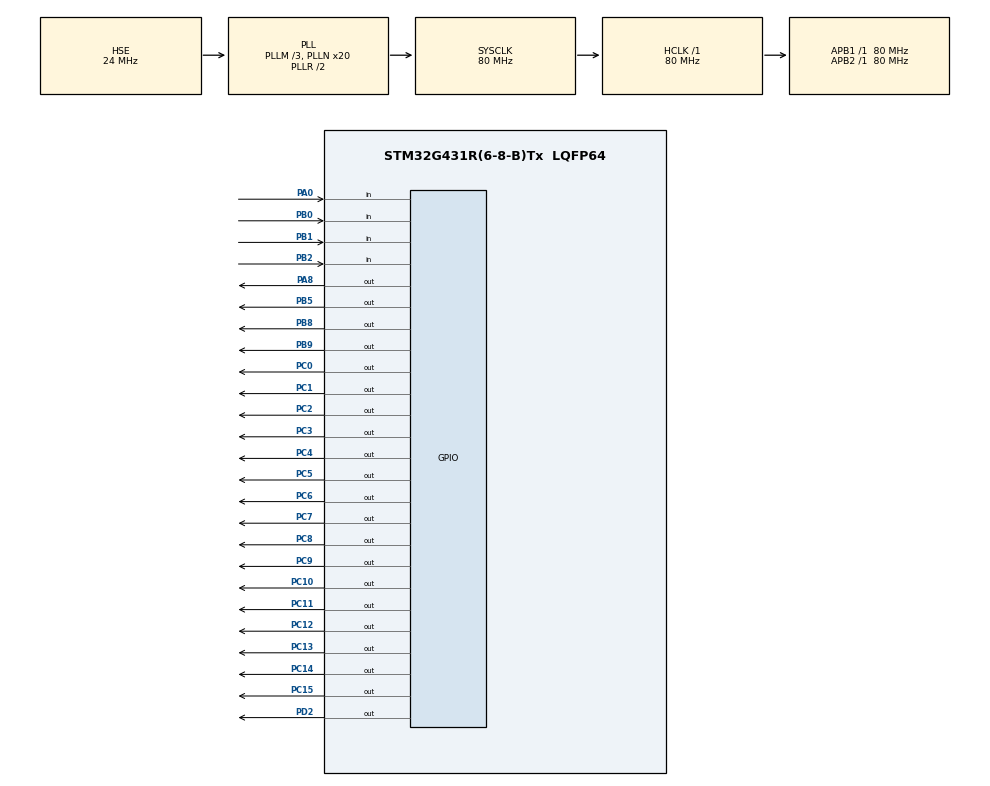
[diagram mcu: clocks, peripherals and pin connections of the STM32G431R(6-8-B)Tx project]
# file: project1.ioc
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Mcu.Family=STM32G4
Mcu.Name=STM32G431R(6-8-B)Tx
Mcu.Package=LQFP64
NVIC.PriorityGroup=NVIC_PRIORITYGROUP_4
NVIC.TIM3_IRQn=true\:0\:0\:false\:false\:true\:true\:true\:true
PA0.GPIO_PuPd=GPIO_PULLUP
PA0.Signal=GPIO_Input
PA13.Mode=Serial_Wire
PA13.Signal=SYS_JTMS-SWDIO
PA14.Mode=Serial_Wire
PA14.Signal=SYS_JTCK-SWCLK
PA8.Signal=GPIO_Output
PB0.GPIO_PuPd=GPIO_PULLUP
PB0.Signal=GPIO_Input
PB1.GPIO_PuPd=GPIO_PULLUP
PB1.Signal=GPIO_Input
PB2.GPIO_PuPd=GPIO_PULLUP
PB2.Signal=GPIO_Input
PB5.Signal=GPIO_Output
PB8-BOOT0.Signal=GPIO_Output
PB9.Signal=GPIO_Output
PC0.Signal=GPIO_Output
PC1.Signal=GPIO_Output
PC10.PinState=GPIO_PIN_SET
PC10.Signal=GPIO_Output
PC11.PinState=GPIO_PIN_SET
PC11.Signal=GPIO_Output
PC12.PinState=GPIO_PIN_SET
PC12.Signal=GPIO_Output
PC13.PinState=GPIO_PIN_SET
PC13.Signal=GPIO_Output
PC14-OSC32_IN.PinState=GPIO_PIN_SET
PC14-OSC32_IN.Signal=GPIO_Output
PC15-OSC32_OUT.PinState=GPIO_PIN_SET
PC15-OSC32_OUT.Signal=GPIO_Output
PC2.Signal=GPIO_Output
PC3.Signal=GPIO_Output
PC4.Signal=GPIO_Output
PC5.Signal=GPIO_Output
PC6.Signal=GPIO_Output
PC7.Signal=GPIO_Output
PC8.PinState=GPIO_PIN_SET
PC8.Signal=GPIO_Output
PC9.PinState=GPIO_PIN_SET
PC9.Signal=GPIO_Output
PD2.Signal=GPIO_Output
PF0-OSC_IN.Mode=HSE-External-Oscillator
PF0-OSC_IN.Signal=RCC_OSC_IN
PF1-OSC_OUT.Mode=HSE-External-Oscillator
PF1-OSC_OUT.Signal=RCC_OSC_OUT
ProjectManager.HeapSize=0x200
ProjectManager.StackSize=0x400
ProjectManager.TargetToolchain=MDK-ARM V5.32
RCC.ADC12Freq_Value=80000000
RCC.AHBFreq_Value=80000000
RCC.APB1Freq_Value=80000000
RCC.APB1TimFreq_Value=80000000
RCC.APB2Freq_Value=80000000
RCC.APB2TimFreq_Value=80000000
RCC.CortexFreq_Value=80000000
RCC.EXTERNAL_CLOCK_VALUE=12288000
RCC.HCLKFreq_Value=80000000
RCC.HSE_VALUE=24000000
RCC.HSI48_VALUE=48000000
RCC.HSI_VALUE=16000000
RCC.LSE_VALUE=32768
RCC.PLLM=RCC_PLLM_DIV3
RCC.PLLN=20
RCC.PLLSourceVirtual=RCC_PLLSOURCE_HSE
RCC.SYSCLKFreq_VALUE=80000000
RCC.SYSCLKSource=RCC_SYSCLKSOURCE_PLLCLK
RCC.USBFreq_Value=80000000
RCC.VCOOutputFreq_Value=160000000
TIM3.PeriodNoDither=10000-1
TIM3.Prescaler=80-1
VP_SYS_VS_DBSignals.Mode=DisableDeadBatterySignals
VP_TIM3_VS_ClockSourceINT.Mode=Internal
board=custom

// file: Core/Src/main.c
/* USER CODE BEGIN Header */
/**
  ******************************************************************************
  * @file           : main.c
  * @brief          : Main program body
  ******************************************************************************
  * @attention
  *
  * Copyright (c) 2025 STMicroelectronics.
  * All rights reserved.
  *
  * This software is licensed under terms that can be found in the LICENSE file
  * in the root directory of this software component.
  * If no LICENSE file comes with this software, it is provided AS-IS.
  *
  ******************************************************************************
  */
/* USER CODE END Header */
#include "main.h"
#include "tim.h"
#include "gpio.h"

/* USER CODE BEGIN Includes */
#include "led.h"
#include "lcd.h"
#include "interrupt.h"
/* USER CODE END Includes */

/* USER CODE BEGIN PTD */
extern struct keys key[];
uchar view=0;
void key_proc();
void disp_proc();
void displayMultiLines(uint8_t starLine,const char** texts,uint8_t numLines);
/* USER CODE END PTD */

void SystemClock_Config(void);

int main(void)
{

  /* MCU Configuration--------------------------------------------------------*/

  /* Reset of all peripherals, Initializes the Flash interface and the Systick. */
  HAL_Init();

  /* Configure the system clock */
  SystemClock_Config();

  /* Initialize all configured peripherals */
  MX_GPIO_Init();
  MX_TIM3_Init();
  /* USER CODE BEGIN 2 */
	HAL_TIM_Base_Start_IT(&htim3);//开启中断
	LED_Disp(0x00);//LED初始化
	LCD_Init();//LCD初始化
	LCD_SetBackColor(Black);
	LCD_SetTextColor(White);
	LCD_Clear(Black);
	HAL_Delay(100);
	//LCD_DisplayStringLine(Line4, (unsigned char *)"    Hello,world.   ");
  /* USER CODE END 2 */

  /* Infinite loop */
  while (1)
  {

    /* USER CODE BEGIN 3 */
		LED_Disp(0x01);
		HAL_Delay(500);
		LED_Disp(0x00);
		HAL_Delay(500);

		key_proc();
		disp_proc();

  }
  /* USER CODE END 3 */
}

void SystemClock_Config(void)
{
  RCC_OscInitTypeDef RCC_OscInitStruct = {0};
  RCC_ClkInitTypeDef RCC_ClkInitStruct = {0};

  /** Configure the main internal regulator output voltage
  */
  HAL_PWREx_ControlVoltageScaling(PWR_REGULATOR_VOLTAGE_SCALE1);

  /** Initializes the RCC Oscillators according to the specified parameters
  * in the RCC_OscInitTypeDef structure.
  */
  RCC_OscInitStruct.OscillatorType = RCC_OSCILLATORTYPE_HSE;
  RCC_OscInitStruct.HSEState = RCC_HSE_ON;
  RCC_OscInitStruct.PLL.PLLState = RCC_PLL_ON;
  RCC_OscInitStruct.PLL.PLLSource = RCC_PLLSOURCE_HSE;
  RCC_OscInitStruct.PLL.PLLM = RCC_PLLM_DIV3;
  RCC_OscInitStruct.PLL.PLLN = 20;
  RCC_OscInitStruct.PLL.PLLP = RCC_PLLP_DIV2;
  RCC_OscInitStruct.PLL.PLLQ = RCC_PLLQ_DIV2;
  RCC_OscInitStruct.PLL.PLLR = RCC_PLLR_DIV2;
  if (HAL_RCC_OscConfig(&RCC_OscInitStruct) != HAL_OK)
  {
    Error_Handler();
  }

  /** Initializes the CPU, AHB and APB buses clocks
  */
  RCC_ClkInitStruct.ClockType = RCC_CLOCKTYPE_HCLK|RCC_CLOCKTYPE_SYSCLK
                              |RCC_CLOCKTYPE_PCLK1|RCC_CLOCKTYPE_PCLK2;
  RCC_ClkInitStruct.SYSCLKSource = RCC_SYSCLKSOURCE_PLLCLK;
  RCC_ClkInitStruct.AHBCLKDivider = RCC_SYSCLK_DIV1;
  RCC_ClkInitStruct.APB1CLKDivider = RCC_HCLK_DIV1;
  RCC_ClkInitStruct.APB2CLKDivider = RCC_HCLK_DIV1;

  if (HAL_RCC_ClockConfig(&RCC_ClkInitStruct, FLASH_LATENCY_2) != HAL_OK)
  {
    Error_Handler();
  }
}

/* USER CODE BEGIN 4 */
void key_proc(void)
{
	if(key[0].single_flag==1)
		{
			view=!view;
			key[0].single_flag=0;//使用过清零
		}
}
/*
void displayMultiLines(uint8_t starLine,const char** texts,uint8_t numLines)
{
	for(uint8_t i=0;i<numLines;i++)
	{
		LCD_DisplayStringLine(starLine+i, (unsigned char *)texts[i]);
	}
}
*/
void disp_proc(void)
{
	LCD_Clear(Black); // 增加清屏操作
	if(view==0)
	{
		const char* displayTexts[]={
			"       Data",
			" ",
			"   CNBR:2",
			"   VNBR:4",
			"   IDLE:2"
		};
		uint8_t num=sizeof(displayTexts)/sizeof(char*);
		for(uint8_t i=0;i<num;i++)
	{
		LCD_DisplayStringLine(24+i*24, (unsigned char *)displayTexts[i]);
	}
		//displayMultiLines(Line2, displayTexts, sizeof(displayTexts)/sizeof(char*));
	}
	else if(view==1)
	{
		const char* displayTexts[]={
			"       Para",
			" ",
			"   CNBR:3.50",
			"   ",
			"   VNBR:2.00"
		};
		uint8_t num=sizeof(displayTexts)/sizeof(char*);
		for(uint8_t i=0;i<num;i++)
	{
		LCD_DisplayStringLine(24+i*24, (unsigned char *)displayTexts[i]);
	}
		//displayMultiLines(Line2, displayTexts, sizeof(displayTexts)/sizeof(char*));
	}
}
/* USER CODE END 4 */

void Error_Handler(void)
{
  __disable_irq();
  while (1)
  {
  }
}
